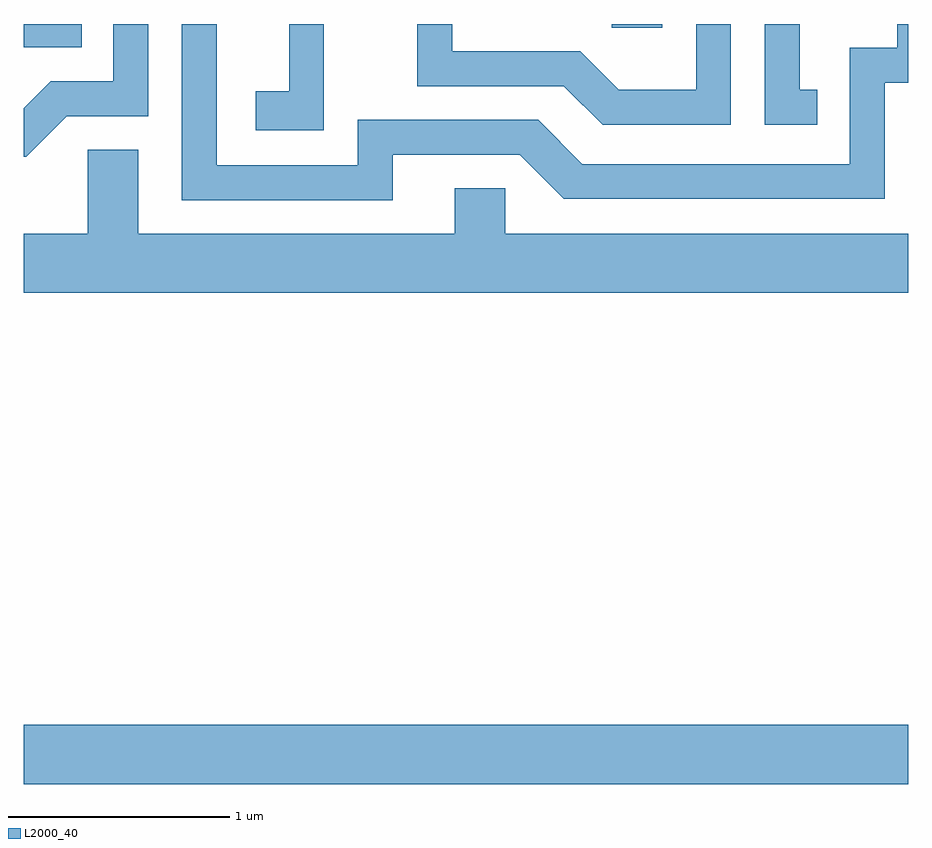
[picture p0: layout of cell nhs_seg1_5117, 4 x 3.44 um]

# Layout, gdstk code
import gdstk
lib = gdstk.Library(unit=1e-6, precision=1e-09)
def R(c, l, rs):  # rectangles x0, y0, x1, y1
    for r in rs: c.add(gdstk.rectangle(r[:2], r[2:], *l))
def P(c, l, *ps):  # polygons
    for p in ps: c.add(gdstk.Polygon(p, *l))
L2000_40 = (2000, 40)

nhs_seg1_5117 = lib.new_cell('nhs_seg1_5117')
R(nhs_seg1_5117, L2000_40, [(339.611,866.276,343.611,866.544), (339.611,869.606,339.873,869.712), (342.271,869.696,342.499,869.712)])
P(nhs_seg1_5117, L2000_40, [(340.969,869.712),(340.811,869.712),(340.811,869.409),(340.661,869.409),(340.661,869.231),(340.969,869.231)],
  [(339.807,869.296),(340.174,869.296),(340.174,869.712),(340.016,869.712),(340.016,869.454),(339.734,869.454),(339.611,869.331),(339.611,869.111),(339.622,869.111)],
  [(341.279,869.121),(341.854,869.121),(342.054,868.921),(343.504,868.921),(343.504,869.446),(343.611,869.446),(343.611,869.712),(343.561,869.712),(343.561,869.604),(343.346,869.604),(343.346,869.079),(342.137,869.079),(341.937,869.279),(341.121,869.279),(341.121,869.074),(340.484,869.074),(340.484,869.712),(340.326,869.712),(340.326,868.916),(341.279,868.916)],
  [(343.198,869.414),(343.119,869.414),(343.119,869.712),(342.961,869.712),(342.961,869.256),(343.198,869.256)],
  [(342.809,869.712),(342.651,869.712),(342.651,869.414),(342.302,869.414),(342.127,869.589),(341.549,869.589),(341.549,869.712),(341.391,869.712),(341.391,869.431),(342.054,869.431),(342.229,869.256),(342.809,869.256)],
  [(343.611,868.764),(341.789,868.764),(341.789,868.969),(341.561,868.969),(341.561,868.764),(340.129,868.764),(340.129,869.144),(339.901,869.144),(339.901,868.764),(339.611,868.764),(339.611,868.496),(343.611,868.496)])

lib.write_gds('nhs_seg1_5117.gds')
